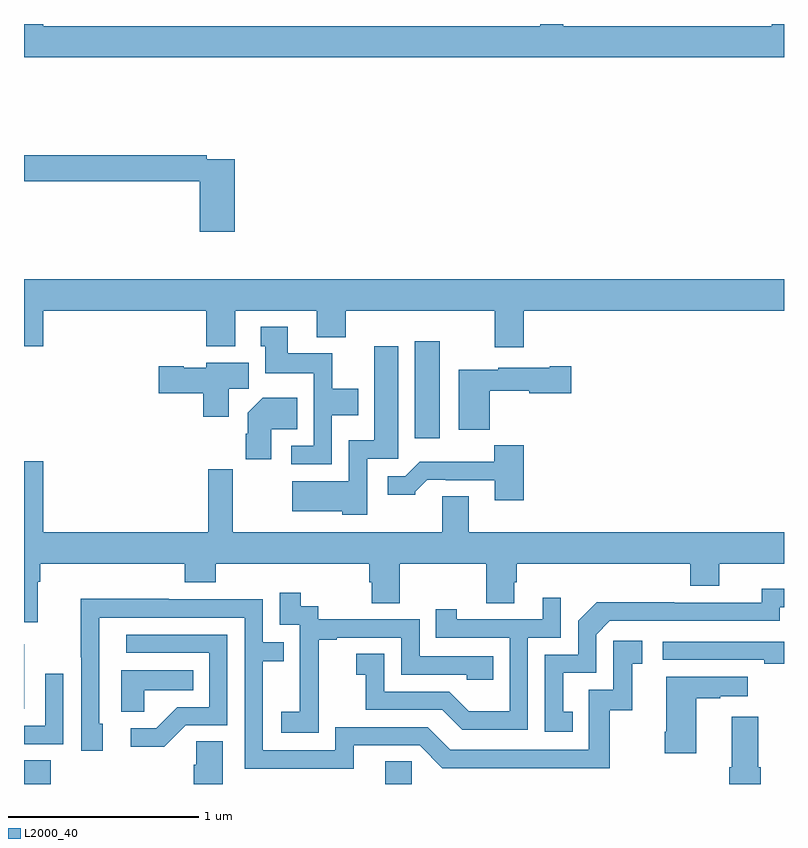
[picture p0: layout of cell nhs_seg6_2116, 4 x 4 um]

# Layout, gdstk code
import gdstk
lib = gdstk.Library(unit=1e-6, precision=1e-09)
def R(c, l, rs):  # rectangles x0, y0, x1, y1
    for r in rs: c.add(gdstk.rectangle(r[:2], r[2:], *l))
def P(c, l, *ps):  # polygons
    for p in ps: c.add(gdstk.Polygon(p, *l))
L2000_40 = (2000, 40)

nhs_seg6_2116 = lib.new_cell('nhs_seg6_2116')
R(nhs_seg6_2116, L2000_40, [(237,955.5,237.14,955.625), (238.901,955.5,239.04,955.619), (237,955.895,237.001,956.235), (239.057,957.321,239.188,957.829)])
P(nhs_seg6_2116, L2000_40, [(241,959.5),(240.935,959.5),(240.935,959.488),(239.839,959.488),(239.839,959.5),(239.717,959.5),(239.717,959.488),(237.1,959.488),(237.1,959.5),(237,959.5),(237,959.324),(241,959.324)],
  [(238.109,958.788),(237.962,958.788),(237.962,958.808),(237,958.808),(237,958.672),(237.926,958.672),(237.926,958.407),(238.109,958.407)],
  [(239.63,957.992),(241,957.992),(241,958.156),(237,958.156),(237,957.804),(237.1,957.804),(237.1,957.992),(237.959,957.992),(237.959,957.803),(238.111,957.803),(238.111,957.992),(238.541,957.992),(238.541,957.851),(238.694,957.851),(238.694,957.992),(239.477,957.992),(239.477,957.798),(239.63,957.798)],
  [(238.62,957.44),(238.759,957.44),(238.759,957.58),(238.623,957.58),(238.623,957.766),(238.387,957.766),(238.387,957.907),(238.247,957.907),(238.247,957.804),(238.271,957.804),(238.271,957.662),(238.524,957.662),(238.524,957.279),(238.407,957.279),(238.407,957.183),(238.62,957.183)],
  [(238.806,957.213),(238.969,957.213),(238.969,957.805),(238.844,957.805),(238.844,957.31),(238.71,957.31),(238.71,957.094),(238.413,957.094),(238.413,956.936),(238.674,956.936),(238.674,956.918),(238.806,956.918)],
  [(238.078,957.58),(238.183,957.58),(238.183,957.718),(237.96,957.718),(237.96,957.691),(237.84,957.691),(237.84,957.699),(237.708,957.699),(237.708,957.557),(237.944,957.557),(237.944,957.432),(238.078,957.432)],
  [(239.45,957.569),(239.658,957.569),(239.658,957.557),(239.881,957.557),(239.881,957.699),(239.768,957.699),(239.768,957.691),(239.496,957.691),(239.496,957.679),(239.288,957.679),(239.288,957.365),(239.45,957.365)],
  [(238.3,957.368),(238.439,957.368),(238.439,957.532),(238.256,957.532),(238.178,957.454),(238.178,957.344),(238.166,957.344),(238.166,957.21),(238.3,957.21)],
  [(239.63,957.283),(239.475,957.283),(239.475,957.196),(239.083,957.196),(239.007,957.12),(238.914,957.12),(238.914,957.023),(239.058,957.023),(239.058,957.038),(239.122,957.102),(239.221,957.102),(239.221,957.099),(239.477,957.099),(239.477,956.994),(239.63,956.994)],
  [(237.073,956.564),(237.086,956.564),(237.086,956.66),(237.845,956.66),(237.845,956.561),(238.01,956.561),(238.01,956.66),(238.817,956.66),(238.817,956.562),(238.829,956.562),(238.829,956.452),(238.977,956.452),(238.977,956.66),(239.434,956.66),(239.434,956.452),(239.581,956.452),(239.581,956.562),(239.594,956.562),(239.594,956.66),(240.506,956.66),(240.506,956.543),(240.658,956.543),(240.658,956.66),(241,956.66),(241,956.824),(239.341,956.824),(239.341,957.014),(239.201,957.014),(239.201,956.824),(238.099,956.824),(238.099,957.157),(237.97,957.157),(237.97,956.824),(237.1,956.824),(237.1,957.199),(237,957.199),(237,956.351),(237.073,956.351)],
  [(239.888,955.881),(239.839,955.881),(239.839,956.085),(240.012,956.085),(240.012,956.286),(240.084,956.358),(240.978,956.358),(240.978,956.43),(241,956.43),(241,956.527),(240.882,956.527),(240.882,956.454),(240.422,956.454),(240.422,956.456),(240.014,956.456),(239.916,956.358),(239.916,956.181),(239.742,956.181),(239.742,955.776),(239.888,955.776)],
  [(238.551,955.975),(238.55,955.975),(238.55,956.259),(238.645,956.259),(238.645,956.271),(238.986,956.271),(238.986,956.076),(239.331,956.076),(239.331,956.049),(239.471,956.049),(239.471,956.172),(239.082,956.172),(239.082,956.367),(238.548,956.367),(238.548,956.436),(238.456,956.436),(238.456,956.506),(238.347,956.506),(238.347,956.337),(238.452,956.337),(238.452,956.108),(238.451,956.108),(238.451,955.879),(238.353,955.879),(238.353,955.769),(238.551,955.769)],
  [(239.652,956.271),(239.826,956.271),(239.826,956.479),(239.729,956.479),(239.729,956.367),(239.278,956.367),(239.278,956.419),(239.167,956.419),(239.167,956.271),(239.556,956.271),(239.556,955.882),(239.342,955.882),(239.238,955.986),(238.896,955.986),(238.896,956.185),(238.749,956.185),(238.749,956.075),(238.798,956.075),(238.798,955.89),(239.201,955.89),(239.306,955.785),(239.652,955.785)],
  [(238.735,955.704),(239.082,955.704),(239.202,955.584),(240.082,955.584),(240.082,955.887),(240.2,955.887),(240.2,956.133),(240.253,956.133),(240.253,956.254),(240.102,956.254),(240.102,955.995),(239.973,955.995),(239.973,955.68),(239.244,955.68),(239.124,955.8),(238.638,955.8),(238.638,955.677),(238.257,955.677),(238.257,956.146),(238.367,956.146),(238.367,956.247),(238.257,956.247),(238.257,956.472),(237.761,956.472),(237.761,956.474),(237.298,956.474),(237.298,956.167),(237.3,956.167),(237.3,955.674),(237.415,955.674),(237.415,955.818),(237.396,955.818),(237.396,956.376),(238.161,956.376),(238.161,955.581),(238.735,955.581)],
  [(237.852,955.809),(238.071,955.809),(238.071,956.286),(237.537,956.286),(237.537,956.19),(237.975,956.19),(237.975,955.905),(237.806,955.905),(237.695,955.794),(237.561,955.794),(237.561,955.697),(237.739,955.697)],
  [(241,956.25),(240.363,956.25),(240.363,956.154),(240.895,956.154),(240.895,956.134),(241,956.134)],
  [(237.633,955.994),(237.89,955.994),(237.89,956.098),(237.512,956.098),(237.512,955.879),(237.633,955.879)],
  [(237.207,956.08),(237.111,956.08),(237.111,955.806),(237,955.806),(237,955.71),(237.207,955.71)],
  [(240.538,955.951),(240.665,955.951),(240.665,955.961),(240.808,955.961),(240.808,956.065),(240.38,956.065),(240.38,955.774),(240.373,955.774),(240.373,955.662),(240.538,955.662)],
  [(240.878,955.588),(240.865,955.588),(240.865,955.855),(240.725,955.855),(240.725,955.588),(240.713,955.588),(240.713,955.5),(240.878,955.5)],
  [(238.045,955.724),(237.906,955.724),(237.906,955.601),(237.893,955.601),(237.893,955.5),(238.045,955.5)])

lib.write_gds('nhs_seg6_2116.gds')
